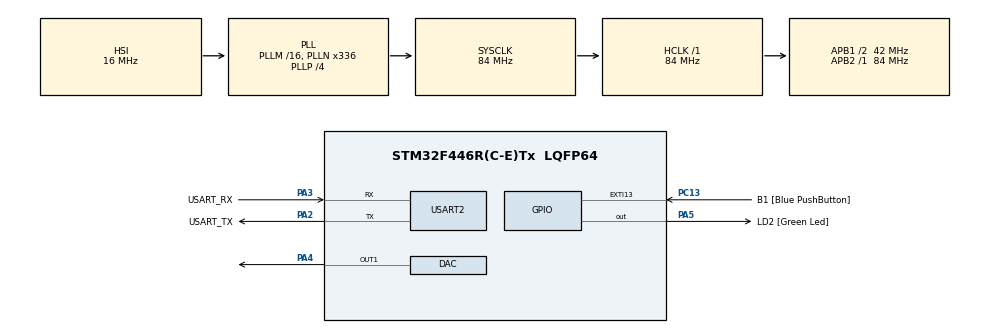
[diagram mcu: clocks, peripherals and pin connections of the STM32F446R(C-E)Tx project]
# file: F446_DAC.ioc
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Mcu.Family=STM32F4
Mcu.Name=STM32F446R(C-E)Tx
Mcu.Package=LQFP64
NVIC.PriorityGroup=NVIC_PRIORITYGROUP_0
PA13.GPIO_Label=TMS
PA13.Mode=Serial_Wire
PA13.Signal=SYS_JTMS-SWDIO
PA14.GPIO_Label=TCK
PA14.Mode=Serial_Wire
PA14.Signal=SYS_JTCK-SWCLK
PA2.GPIO_Label=USART_TX
PA2.Mode=Asynchronous
PA2.Signal=USART2_TX
PA3.GPIO_Label=USART_RX
PA3.Mode=Asynchronous
PA3.Signal=USART2_RX
PA4.Signal=COMP_DAC1_group
PA5.GPIO_Label=LD2 [Green Led]
PA5.Signal=GPIO_Output
PB3.GPIO_Label=SWO
PB3.Signal=SYS_JTDO-SWO
PC13.GPIO_Label=B1 [Blue PushButton]
PC13.GPIO_ModeDefaultEXTI=GPIO_MODE_IT_FALLING
PC13.Signal=GPXTI13
PC14-OSC32_IN.Mode=LSE-External-Oscillator
PC14-OSC32_IN.Signal=RCC_OSC32_IN
PC15-OSC32_OUT.Mode=LSE-External-Oscillator
PC15-OSC32_OUT.Signal=RCC_OSC32_OUT
PH0-OSC_IN.Mode=HSE-External-Oscillator
PH0-OSC_IN.Signal=RCC_OSC_IN
PH1-OSC_OUT.Mode=HSE-External-Oscillator
PH1-OSC_OUT.Signal=RCC_OSC_OUT
ProjectManager.HeapSize=0x200
ProjectManager.StackSize=0x400
ProjectManager.TargetToolchain=STM32CubeIDE
RCC.48MHZClocksFreq_Value=84000000
RCC.AHBFreq_Value=84000000
RCC.APB1CLKDivider=RCC_HCLK_DIV2
RCC.APB1Freq_Value=42000000
RCC.APB1TimFreq_Value=84000000
RCC.APB2Freq_Value=84000000
RCC.APB2TimFreq_Value=84000000
RCC.CortexFreq_Value=84000000
RCC.FLatency-AdvancedSettings=FLASH_LATENCY_2
RCC.HCLKFreq_Value=84000000
RCC.HSE_VALUE=8000000
RCC.HSI_VALUE=16000000
RCC.PLLN=336
RCC.PLLP=RCC_PLLP_DIV4
RCC.SYSCLKFreq_VALUE=84000000
RCC.SYSCLKSource=RCC_SYSCLKSOURCE_PLLCLK
RCC.USBFreq_Value=168000000
RCC.VCOOutputFreq_Value=336000000
SH.COMP_DAC1_group.0=DAC_OUT1,DAC_OUT1
USART2.VirtualMode=VM_ASYNC
board=NUCLEO-F446RE

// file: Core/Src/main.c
/* USER CODE BEGIN Header */
/**
  ******************************************************************************
  * @file           : main.c
  * @brief          : Main program body
  ******************************************************************************
  * @attention
  *
  * Copyright (c) 2025 STMicroelectronics.
  * All rights reserved.
  *
  * This software is licensed under terms that can be found in the LICENSE file
  * in the root directory of this software component.
  * If no LICENSE file comes with this software, it is provided AS-IS.
  *
  ******************************************************************************
  */
/* USER CODE END Header */
#include "main.h"

DAC_HandleTypeDef hdac;

UART_HandleTypeDef huart2;

/* USER CODE BEGIN PV */
uint16_t seno_9[9] = {
    2048, // 0°
    3363, // 40°
    4069, // 80°
    3824, // 120°
    2750, // 160°
    1346, // 200°
    270,  // 240°
    36,   // 280°
    732   // 320°
};
uint16_t serra_9[9] = {
    0, // 0°
    400, // 40°
    800, // 80°
    1200, // 120°
    1600, // 160°
    2000, // 200°
    2400,  // 240°
    2800,   // 280°
    3200   // 320°
};
uint8_t i = 0;
/* USER CODE END PV */

void SystemClock_Config(void);
static void MX_GPIO_Init(void);
static void MX_USART2_UART_Init(void);
static void MX_DAC_Init(void);

int main(void)
{

  /* MCU Configuration--------------------------------------------------------*/

  /* Reset of all peripherals, Initializes the Flash interface and the Systick. */
  HAL_Init();

  /* Configure the system clock */
  SystemClock_Config();

  /* Initialize all configured peripherals */
  MX_GPIO_Init();
  MX_USART2_UART_Init();
  MX_DAC_Init();
  /* USER CODE BEGIN 2 */
  HAL_DAC_Start(&hdac, DAC_CHANNEL_1);
  /* USER CODE END 2 */

  /* Infinite loop */
  /* USER CODE BEGIN WHILE */
  while (1)
  {

    if(i<9)
    {
      HAL_DAC_SetValue(&hdac, DAC_CHANNEL_1, DAC_ALIGN_12B_R, seno_9[i]);
      //HAL_DAC_SetValue(&hdac, DAC_CHANNEL_1, DAC_ALIGN_12B_R, serra_9[i]);
      i++;
      HAL_Delay(100);
    }
    else
    {
      i=0;
    }
    /* USER CODE END WHILE */

  }
}

void SystemClock_Config(void)
{
  RCC_OscInitTypeDef RCC_OscInitStruct = {0};
  RCC_ClkInitTypeDef RCC_ClkInitStruct = {0};

  /** Configure the main internal regulator output voltage
  */
  __HAL_RCC_PWR_CLK_ENABLE();
  __HAL_PWR_VOLTAGESCALING_CONFIG(PWR_REGULATOR_VOLTAGE_SCALE3);

  /** Initializes the RCC Oscillators according to the specified parameters
  * in the RCC_OscInitTypeDef structure.
  */
  RCC_OscInitStruct.OscillatorType = RCC_OSCILLATORTYPE_HSI;
  RCC_OscInitStruct.HSIState = RCC_HSI_ON;
  RCC_OscInitStruct.HSICalibrationValue = RCC_HSICALIBRATION_DEFAULT;
  RCC_OscInitStruct.PLL.PLLState = RCC_PLL_ON;
  RCC_OscInitStruct.PLL.PLLSource = RCC_PLLSOURCE_HSI;
  RCC_OscInitStruct.PLL.PLLM = 16;
  RCC_OscInitStruct.PLL.PLLN = 336;
  RCC_OscInitStruct.PLL.PLLP = RCC_PLLP_DIV4;
  RCC_OscInitStruct.PLL.PLLQ = 2;
  RCC_OscInitStruct.PLL.PLLR = 2;
  if (HAL_RCC_OscConfig(&RCC_OscInitStruct) != HAL_OK)
  {
    Error_Handler();
  }

  /** Initializes the CPU, AHB and APB buses clocks
  */
  RCC_ClkInitStruct.ClockType = RCC_CLOCKTYPE_HCLK|RCC_CLOCKTYPE_SYSCLK
                              |RCC_CLOCKTYPE_PCLK1|RCC_CLOCKTYPE_PCLK2;
  RCC_ClkInitStruct.SYSCLKSource = RCC_SYSCLKSOURCE_PLLCLK;
  RCC_ClkInitStruct.AHBCLKDivider = RCC_SYSCLK_DIV1;
  RCC_ClkInitStruct.APB1CLKDivider = RCC_HCLK_DIV2;
  RCC_ClkInitStruct.APB2CLKDivider = RCC_HCLK_DIV1;

  if (HAL_RCC_ClockConfig(&RCC_ClkInitStruct, FLASH_LATENCY_2) != HAL_OK)
  {
    Error_Handler();
  }
}

static void MX_DAC_Init(void)
{

  DAC_ChannelConfTypeDef sConfig = {0};

  /** DAC Initialization
  */
  hdac.Instance = DAC;
  if (HAL_DAC_Init(&hdac) != HAL_OK)
  {
    Error_Handler();
  }

  /** DAC channel OUT1 config
  */
  sConfig.DAC_Trigger = DAC_TRIGGER_NONE;
  sConfig.DAC_OutputBuffer = DAC_OUTPUTBUFFER_ENABLE;
  if (HAL_DAC_ConfigChannel(&hdac, &sConfig, DAC_CHANNEL_1) != HAL_OK)
  {
    Error_Handler();
  }

}

static void MX_USART2_UART_Init(void)
{

  huart2.Instance = USART2;
  huart2.Init.BaudRate = 115200;
  huart2.Init.WordLength = UART_WORDLENGTH_8B;
  huart2.Init.StopBits = UART_STOPBITS_1;
  huart2.Init.Parity = UART_PARITY_NONE;
  huart2.Init.Mode = UART_MODE_TX_RX;
  huart2.Init.HwFlowCtl = UART_HWCONTROL_NONE;
  huart2.Init.OverSampling = UART_OVERSAMPLING_16;
  if (HAL_UART_Init(&huart2) != HAL_OK)
  {
    Error_Handler();
  }

}

static void MX_GPIO_Init(void)
{
  GPIO_InitTypeDef GPIO_InitStruct = {0};

  /* GPIO Ports Clock Enable */
  __HAL_RCC_GPIOC_CLK_ENABLE();
  __HAL_RCC_GPIOH_CLK_ENABLE();
  __HAL_RCC_GPIOA_CLK_ENABLE();
  __HAL_RCC_GPIOB_CLK_ENABLE();

  /*Configure GPIO pin Output Level */
  HAL_GPIO_WritePin(LD2_GPIO_Port, LD2_Pin, GPIO_PIN_RESET);

  /*Configure GPIO pin : B1_Pin */
  GPIO_InitStruct.Pin = B1_Pin;
  GPIO_InitStruct.Mode = GPIO_MODE_IT_FALLING;
  GPIO_InitStruct.Pull = GPIO_NOPULL;
  HAL_GPIO_Init(B1_GPIO_Port, &GPIO_InitStruct);

  /*Configure GPIO pin : LD2_Pin */
  GPIO_InitStruct.Pin = LD2_Pin;
  GPIO_InitStruct.Mode = GPIO_MODE_OUTPUT_PP;
  GPIO_InitStruct.Pull = GPIO_NOPULL;
  GPIO_InitStruct.Speed = GPIO_SPEED_FREQ_LOW;
  HAL_GPIO_Init(LD2_GPIO_Port, &GPIO_InitStruct);

}

void Error_Handler(void)
{
  __disable_irq();
  while (1)
  {
  }
}
